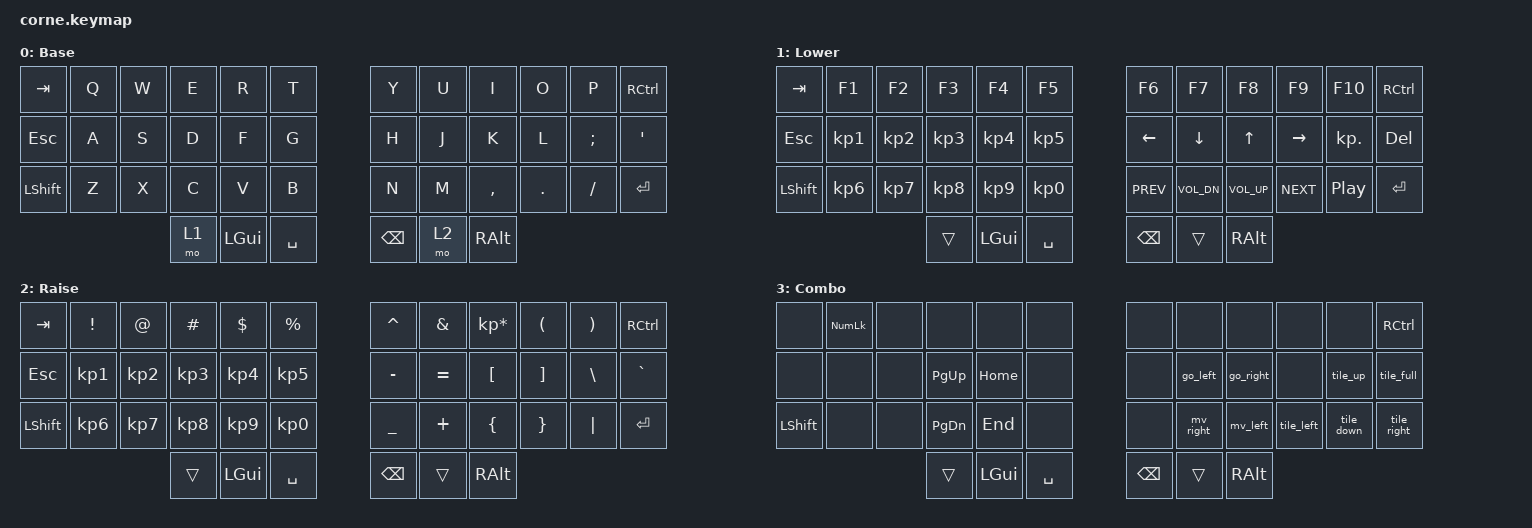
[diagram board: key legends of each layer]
/*
 * Copyright (c) 2020 The ZMK Contributors
 *
 * SPDX-License-Identifier: MIT
 */

#include <behaviors.dtsi>
#include <dt-bindings/zmk/keys.h>
#include <dt-bindings/zmk/bt.h>

/ {
        conditional_layers {
                compatible = "zmk,conditional-layers";
                tri_layer {
                        if-layers = <1 2>;
                        then-layer = <3>;
                };
        };

        macros {
                tile_up: tile_up {
                        label = "TILE_UP";
                        compatible = "zmk,behavior-macro";
                        #binding-cells = <0>;
                        bindings
                            = <&macro_press &kp LCTRL &kp LALT>
                            , <&kp UP>
                            , <&macro_release &kp LCTRL &kp LALT>
                            ;
                };
                tile_left: tile_left {
                        label = "TILE_LEFT";
                        compatible = "zmk,behavior-macro";
                        #binding-cells = <0>;
                        bindings
                            = <&macro_press &kp LCTRL &kp LALT>
                            , <&kp LEFT>
                            , <&macro_release &kp LCTRL &kp LALT>
                            ;
                };
                tile_down: tile_down {
                        label = "TILE_DOWN";
                        compatible = "zmk,behavior-macro";
                        #binding-cells = <0>;
                        bindings
                            = <&macro_press &kp LCTRL &kp LALT>
                            , <&kp DOWN>
                            , <&macro_release &kp LCTRL &kp LALT>
                            ;
                };
                tile_right: tile_right {
                        label = "TILE_RIGHT";
                        compatible = "zmk,behavior-macro";
                        #binding-cells = <0>;
                        bindings
                            = <&macro_press &kp LCTRL &kp LALT>
                            , <&kp RIGHT>
                            , <&macro_release &kp LCTRL &kp LALT>
                            ;
                };
                tile_full: tile_full {
                        label = "TILE_FULL";
                        compatible = "zmk,behavior-macro";
                        #binding-cells = <0>;
                        bindings
                            = <&macro_press &kp LCTRL &kp LALT>
                            , <&kp ENTER>
                            , <&macro_release &kp LCTRL &kp LALT>
                            ;
                };
                go_left: go_left {
                        label = "GO_LEFT";
                        compatible = "zmk,behavior-macro";
                        #binding-cells = <0>;
                        bindings
                            = <&macro_press &kp LALT &kp LGUI>
                            , <&kp LEFT>
                            , <&macro_release &kp LALT &kp LGUI>
                            ;
                };
                go_right: go_right {
                        label = "GO_RIGHT";
                        compatible = "zmk,behavior-macro";
                        #binding-cells = <0>;
                        bindings
                            = <&macro_press &kp LALT &kp LGUI>
                            , <&kp RIGHT>
                            , <&macro_release &kp LALT &kp LGUI>
                            ;
                };
                mv_left: mv_left {
                        label = "MV_LEFT";
                        compatible = "zmk,behavior-macro";
                        #binding-cells = <0>;
                        bindings
                            = <&macro_press &kp LCTRL &kp LSHFT>
                            , <&kp PG_DN>
                            , <&macro_release &kp LCTRL &kp LSHFT>
                            ;
                };
                mv_right: mv_right {
                        label = "MV_RIGHT";
                        compatible = "zmk,behavior-macro";
                        #binding-cells = <0>;
                        bindings
                            = <&macro_press &kp LCTRL &kp LSHFT>
                            , <&kp PG_UP>
                            , <&macro_release &kp LCTRL &kp LSHFT>
                            ;
                };
        };

        keymap {
                compatible = "zmk,keymap";

                default_layer {
                        label = "Base";
                        bindings = <
   &kp TAB   &kp Q &kp W &kp E &kp R &kp T   &kp Y &kp U  &kp I     &kp O   &kp P    &kp RCTL
   &kp ESC   &kp A &kp S &kp D &kp F &kp G   &kp H &kp J  &kp K     &kp L   &kp SEMI &kp SQT
   &kp LSHFT &kp Z &kp X &kp C &kp V &kp B   &kp N &kp M  &kp COMMA &kp DOT &kp FSLH &kp ENTER
                  &mo 1 &kp LGUI &kp SPACE   &kp BSPC &mo 2 &kp RALT
                        >;
                };

                lower_layer {
                        label = "Lower";
                        bindings = <
   &kp TAB    &kp F1       &kp F2       &kp F3       &kp F4       &kp F5         &kp F6   &kp F7    &kp F8      &kp F9      &kp F10     &kp RCTL
   &kp ESC    &kp KP_N1    &kp KP_N2    &kp KP_N3    &kp KP_N4    &kp KP_N5      &kp LEFT &kp DOWN  &kp UP      &kp RIGHT   &kp KP_DOT  &kp DEL
   &kp LSHFT  &kp KP_N6    &kp KP_N7    &kp KP_N8    &kp KP_N9    &kp KP_N0      &kp C_PREV   &kp C_VOL_DN    &kp C_VOL_UP  &kp C_NEXT  &kp C_PP    &kp ENTER
                          	        &trans     &kp LGUI       &kp SPACE      &kp BSPC  &trans    &kp RALT
                        >;
                };

                raise_layer {
                        label = "Raise";
                        bindings = <
   &kp TAB    &kp EXCL &kp AT &kp HASH &kp DLLR &kp PRCNT   &kp CARET &kp AMPS  &kp KP_MULTIPLY &kp LPAR &kp RPAR &kp RCTL
   &kp ESC    &kp KP_N1    &kp KP_N2    &kp KP_N3    &kp KP_N4    &kp KP_N5      &kp MINUS &kp EQUAL &kp LBKT        &kp RBKT &kp BSLH &kp GRAVE
   &kp LSHFT  &kp KP_N6    &kp KP_N7    &kp KP_N8    &kp KP_N9    &kp KP_N0      &kp UNDER &kp PLUS  &kp LBRC        &kp RBRC &kp PIPE &kp ENTER
                    	     &trans  &kp LGUI   &kp SPACE   &kp BSPC   &trans    &kp RALT
                        >;
                };

                combo_layer {
                        label = "Combo";
                        bindings = <
   &none      &kp KP_NLCK  &none  &none      &none     &none     &none  &none         &none         &none       &none       &kp RCTL
   &none      &none        &none  &kp PG_UP  &kp HOME  &none     &none  &go_left      &go_right     &none       &tile_up    &tile_full
   &kp LSHFT  &none        &none  &kp PG_DN  &kp END   &none     &none  &mv_right  &mv_left   &tile_left  &tile_down  &tile_right
                    	     &trans  &kp LGUI   &kp SPACE   &kp BSPC   &trans  &kp RALT
                        >;
                };
        };
};
